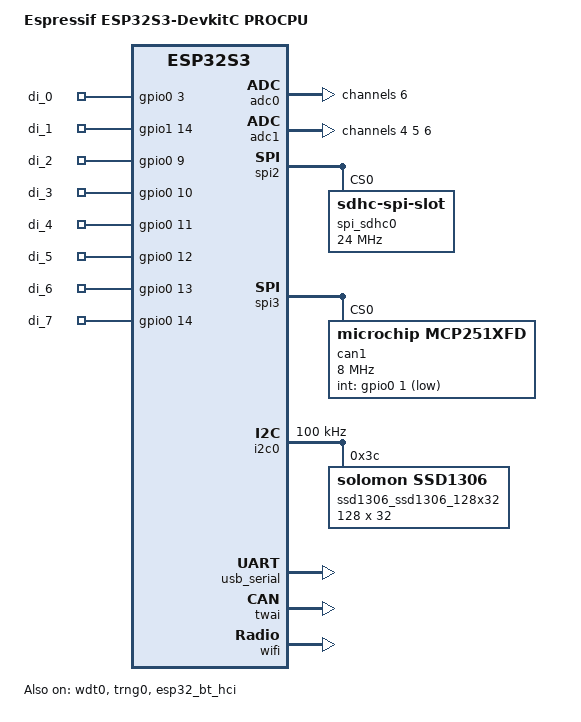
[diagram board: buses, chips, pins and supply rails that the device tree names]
/*
 * Copyright (c) 2025 Pavel Maloletkov
 *
 * SPDX-License-Identifier: Apache-2.0
 */
/dts-v1/;

#include <espressif/esp32s3/esp32s3.dtsi>
#include <zephyr/dt-bindings/input/input-event-codes.h>
#include <espressif/partitions_0x0_amp.dtsi>
#include "esp32s3_pm_hw_02-pinctrl.dtsi"

/ {
	model = "Espressif ESP32S3-DevkitC PROCPU";
	compatible = "espressif,esp32s3";

	aliases {
		watchdog0 = &wdt0;
		gpioc = &gpioc;
		adc0 = &adc0;
		adc1 = &adc1;
		can0 = &twai;
		can1 = &can1;
	};

	chosen {
		zephyr,sram = &sram1;
		zephyr,console = &usb_serial;
		zephyr,shell-uart = &usb_serial;
		zephyr,flash = &flash0;
		zephyr,code-partition = &slot0_partition;
		zephyr,sdhc = &spi_sdhc0;
		zephyr,bt-hci = &esp32_bt_hci;
		zephyr,display = &ssd1306_ssd1306_128x32;
	};

	gpioc: gpioc {
		compatible = "gpio-keys";

		di_0: di_0 {
			gpios = <&gpio0 3 GPIO_PULL_UP>;
		};

		di_1: di_1 {
			gpios = <&gpio1 14 GPIO_PULL_UP>;
		};

		di_2: di_2 {
			gpios = <&gpio0 9 GPIO_PULL_UP>;
		};

		di_3: di_3 {
			gpios = <&gpio0 10 GPIO_PULL_UP>;
		};

		di_4: di_4 {
			gpios = <&gpio0 11 GPIO_PULL_UP>;
		};

		di_5: di_5 {
			gpios = <&gpio0 12 GPIO_PULL_UP>;
		};

		di_6: di_6 {
			gpios = <&gpio0 13 GPIO_PULL_UP>;
		};

		di_7: di_7 {
			gpios = <&gpio0 14 GPIO_PULL_UP>;
		};
	};
};

&flash0 {
	reg = <0x0 DT_SIZE_M(8)>;
	ranges = <0x0 0x0 DT_SIZE_M(8)>;
};

&psram0 {
	size = <DT_SIZE_M(8)>;
};

&gpio0 {
	status = "okay";
};

&gpio1 {
	status = "okay";
};

// ADC gain set to ADC_GAIN_1_4 corresponds to 12dB attenuation with measurement range of 0-3.1V
// according to Espressif documention:
// https://docs.espressif.com/projects/esp-idf/en/v4.4/esp32s3/api-reference/peripherals/adc.html
&adc0 {
	status = "okay";
	#address-cells = <1>;
	#size-cells = <0>;

	// IN0
	channel@6 {
		reg = <6>;
		zephyr,gain = "ADC_GAIN_1_4";
		zephyr,reference = "ADC_REF_INTERNAL";
		zephyr,acquisition-time = <ADC_ACQ_TIME_DEFAULT>;
		zephyr,resolution = <12>;
	};
};

&adc1 {
	status = "okay";
	#address-cells = <1>;
	#size-cells = <0>;

	// IN1
	channel@4 {
		reg = <4>;
		zephyr,gain = "ADC_GAIN_1_4";
		zephyr,reference = "ADC_REF_INTERNAL";
		zephyr,acquisition-time = <ADC_ACQ_TIME_DEFAULT>;
		zephyr,resolution = <12>;
	};

	// IN2
	channel@5 {
		reg = <5>;
		zephyr,gain = "ADC_GAIN_1_4";
		zephyr,reference = "ADC_REF_INTERNAL";
		zephyr,acquisition-time = <ADC_ACQ_TIME_DEFAULT>;
		zephyr,resolution = <12>;
	};

	// IN3
	channel@6 {
		reg = <6>;
		zephyr,gain = "ADC_GAIN_1_4";
		zephyr,reference = "ADC_REF_INTERNAL";
		zephyr,acquisition-time = <ADC_ACQ_TIME_DEFAULT>;
		zephyr,resolution = <12>;
	};
};

&spi2 {
	status = "okay";
	#address-cells = <1>;
	#size-cells = <0>;
	pinctrl-0 = <&spim2_default>;
	pinctrl-names = "default";

	spi_sdhc0: sdhc@0 {
		compatible = "zephyr,sdhc-spi-slot";
		reg = <0>;
		status = "okay";
		spi-max-frequency = <24000000>;

		mmc {
			compatible = "zephyr,sdmmc-disk";
			disk-name = "SD";
			status = "okay";
		};
	};
};

&spi3 {
	status = "okay";
	#address-cells = <1>;
	#size-cells = <0>;
	pinctrl-0 = <&spim3_default>;
	pinctrl-names = "default";

	can1: mcp2518fd@0 {
		compatible = "microchip,mcp251xfd";
		reg = <0>;
		status = "okay";

		// MCP2518FD maximum SPI frequency is 20 MHz
		// But current temp setup is not stable at frequencies above 8 MHz
		// TODO: Investigate
		spi-max-frequency = <8000000>;
		int-gpios = <&gpio0 1 GPIO_ACTIVE_LOW>;
		osc-freq = <20000000>;
	};

	can-transceiver {
		max-bitrate = <8000000>;
	};
};

&i2c0 {
	status = "okay";
	clock-frequency = <I2C_BITRATE_STANDARD>;
	pinctrl-0 = <&i2c0_default>;
	pinctrl-names = "default";

	ssd1306_ssd1306_128x32: ssd1306@3c {
		compatible = "solomon,ssd1306";
		reg = <0x3c>;
		width = <128>;
		height = <32>;
		segment-offset = <0>;
		page-offset = <0>;
		display-offset = <0>;
		multiplex-ratio = <31>;
		segment-remap;
		com-invdir;
		com-sequential;
		prechargep = <0x22>;
	};
};

&usb_serial {
	status = "okay";
};

&twai {
	status = "okay";
	pinctrl-0 = <&twai_default>;
	pinctrl-names = "default";

	can-transceiver {
		max-bitrate = <1000000>;
	};
};

&wdt0 {
	status = "okay";
};

&trng0 {
	status = "okay";
};

&esp32_bt_hci {
	status = "okay";
};

&wifi {
	status = "okay";
};
